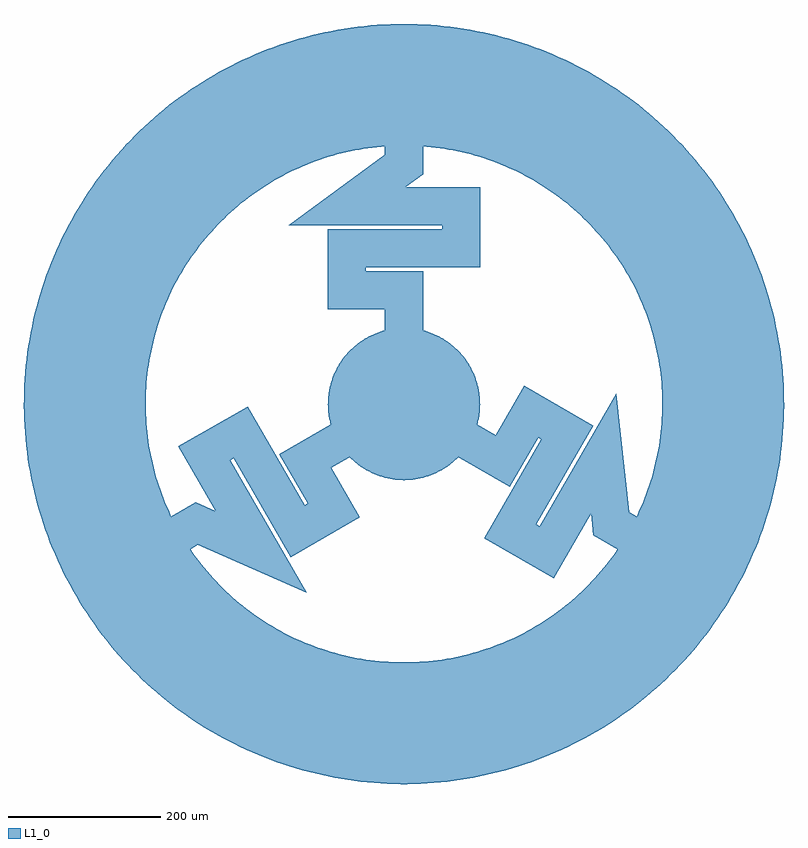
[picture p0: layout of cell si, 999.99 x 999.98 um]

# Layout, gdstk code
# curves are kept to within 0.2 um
import gdstk
lib = gdstk.Library(unit=1e-6, precision=1e-09)
def P(c, l, *ps):  # polygons
    for p in ps: c.add(gdstk.Polygon(p, *l))
L1_0 = (1, 0)

c_si = lib.new_cell('si')
P(c_si, L1_0, [(-0.875,-99.996),(-11.352,-99.354),(-19.992,-97.981),(-30.152,-95.346),(-38.369,-92.346),(-47.838,-87.816),(-56.779,-82.318),(-65.094,-75.913),(-71.48,-69.933),(-77.318,-63.418),(-83.54,-54.964),(-88.024,-47.453),(-92.513,-37.965),(-95.983,-28.059),(-98.068,-19.563),(-99.578,-9.176),(-99.991,1.313),(-99.303,11.786),(-97.521,22.13),(-94.664,32.23),(-91.485,40.38),(-86.748,49.747),(-82.068,57.138),(-75.627,65.426),(-69.62,71.785),(-61.712,78.687),(-54.598,83.78),(-47.067,88.231),(-37.56,92.678),(-27.639,96.105),(-19.133,98.153),(-8.74,99.617),(1.75,99.985),(10.482,99.449),(20.848,97.803),(30.985,95.079),(39.176,92.007),(48.604,87.394),(56.056,82.811),(64.428,76.479),(72.089,69.305),(78.956,61.367),(84.018,54.231),(88.436,46.681),(92.842,37.154),(95.734,28.898),(98.235,18.704),(99.655,8.304),(99.999,-0.438),(99.578,-9.176),(98.068,-19.563),(95.983,-28.059),(92.513,-37.965),(88.024,-47.453),(83.54,-54.964),(77.318,-63.418),(70.245,-71.173),(62.398,-78.144),(55.329,-83.299),(47.838,-87.816),(38.369,-92.346),(28.478,-95.859),(18.274,-98.316),(7.868,-99.69)],
  [(-4.375,-499.981),(-30.609,-499.062),(-56.759,-496.768),(-82.752,-493.105),(-99.958,-489.907),(-125.531,-483.985),(-150.759,-476.73),(-175.57,-468.161),(-199.898,-458.302),(-215.815,-451.025),(-239.188,-439.078),(-261.902,-425.92),(-283.894,-411.588),(-305.103,-396.121),(-325.472,-379.563),(-344.944,-361.959),(-357.4,-349.665),(-375.258,-330.426),(-392.082,-310.277),(-407.826,-289.272),(-417.699,-274.822),(-431.547,-252.522),(-440.12,-237.265),(-451.965,-213.839),(-462.565,-189.825),(-471.89,-165.287),(-479.914,-140.294),(-486.616,-114.914),(-491.976,-89.217),(-494.797,-71.945),(-497.891,-45.878),(-499.612,-19.685),(-499.957,6.563),(-499.421,24.056),(-497.47,50.233),(-495.408,67.612),(-491.176,93.519),(-487.603,110.651),(-481.124,136.089),(-473.318,161.151),(-464.209,185.77),(-457.423,201.902),(-446.196,225.63),(-438.027,241.107),(-424.769,263.763),(-415.278,278.467),(-400.092,299.878),(-383.802,320.462),(-366.604,340),(0,340),(-11.899,339.792),(-23.783,339.167),(-41.55,337.452),(-53.335,335.791),(-65.054,333.719),(-82.478,329.844),(-93.971,326.756),(-105.349,323.267),(-122.169,317.293),(-133.198,312.823),(-144.065,307.97),(-160.029,299.985),(-170.429,294.2),(-180.621,288.056),(-195.49,278.179),(-209.82,267.536),(-219.054,260.03),(-228.02,252.204),(-240.942,239.89),(-249.189,231.311),(-257.132,222.448),(-268.452,208.647),(-275.589,199.124),(-282.389,189.357),(-291.938,174.276),(-297.858,163.953),(-303.414,153.428),(-311.048,137.293),(-315.662,126.323),(-319.889,115.199),(-323.725,103.933),(-327.164,92.54),(-331.57,75.243),(-335.062,57.738),(-336.877,45.976),(-338.28,34.159),(-339.268,22.299),(-339.841,10.412),(-339.919,-7.438),(-339.45,-19.329),(-338.566,-31.197),(-336.462,-48.922),(-334.544,-60.668),(-332.216,-72.338),(-327.961,-89.674),(-322.803,-106.762),(-318.869,-117.994),(-314.544,-129.081),(-309.834,-140.01),(-304.745,-150.767),(-296.412,-166.553),(-287.263,-181.88),(-280.721,-191.821),(-273.836,-201.528),(-266.616,-210.988),(-259.069,-220.19),(-247.156,-233.482),(-234.562,-246.132),(-225.804,-254.19),(-216.77,-261.937),(-202.724,-272.952),(-193.048,-279.88),(-183.135,-286.464),(-172.997,-292.698),(-162.648,-298.573),(-146.754,-306.697),(-130.456,-313.977),(-119.388,-318.35),(-108.174,-322.333),(-91.108,-327.566),(-79.588,-330.554),(-67.971,-333.136),(-50.394,-336.245),(-38.596,-337.802),(-26.75,-338.946),(-8.925,-339.883),(2.975,-339.987),(14.872,-339.675),(32.678,-338.426),(44.502,-337.075),(56.271,-335.311),(67.971,-333.136),(79.588,-330.554),(96.827,-325.921),(108.174,-322.333),(119.388,-318.35),(135.931,-311.645),(146.754,-306.697),(157.398,-301.374),(172.997,-292.698),(183.135,-286.464),(193.048,-279.88),(207.47,-269.362),(221.321,-258.103),(230.218,-250.199),(238.833,-241.989),(251.204,-229.121),(262.883,-215.622),(273.836,-201.528),(284.036,-186.879),(293.452,-171.715),(299.282,-161.34),(307.336,-145.411),(314.544,-129.081),(320.885,-112.395),(326.342,-95.4),(330.899,-78.141),(334.544,-60.668),(337.267,-43.027),(338.566,-31.197),(339.736,-13.386),(339.971,4.463),(339.268,22.299),(337.63,40.074),(335.062,57.738),(331.57,75.243),(327.164,92.54),(323.725,103.933),(317.824,120.78),(311.048,137.293),(303.414,153.428),(297.858,163.953),(288.843,179.359),(279.032,194.271),(268.452,208.647),(260.986,217.914),(249.189,231.311),(236.706,244.07),(228.02,252.204),(219.054,260.03),(209.82,267.536),(200.328,274.716),(185.635,284.851),(175.552,291.173),(165.254,297.138),(154.754,302.739),(144.065,307.97),(133.198,312.823),(122.169,317.293),(105.349,323.267),(88.238,328.351),(76.693,331.237),(65.054,333.719),(53.335,335.791),(41.55,337.452),(29.715,338.699),(17.844,339.531),(5.95,339.948),(-366.604,340),(-354.326,352.779),(-335.323,370.888),(-315.396,387.976),(-294.6,403.994),(-272.992,418.898),(-250.631,432.648),(-227.58,445.205),(-203.901,456.535),(-179.66,466.607),(-154.925,475.393),(-129.762,482.868),(-104.241,489.013),(-78.433,493.81),(-52.409,497.246),(-26.241,499.311),(0,500),(17.498,499.694),(43.699,498.087),(69.779,495.107),(95.667,490.763),(121.291,485.065),(146.581,478.031),(171.467,469.68),(195.88,460.034),(211.86,452.897),(235.337,441.154),(258.165,428.195),(280.281,414.056),(294.6,403.994),(315.396,387.976),(335.323,370.888),(354.326,352.779),(372.352,333.697),(389.352,313.696),(405.279,292.83),(415.278,278.467),(429.321,256.289),(442.179,233.404),(453.819,209.876),(464.209,185.77),(473.318,161.151),(481.124,136.089),(487.603,110.651),(491.176,93.519),(495.408,67.612),(498.273,41.519),(499.421,24.056),(499.995,-2.188),(499.191,-28.425),(497.012,-54.584),(494.797,-71.945),(490.339,-97.813),(486.616,-114.914),(479.914,-140.294),(471.89,-165.287),(462.565,-189.825),(451.965,-213.839),(440.12,-237.265),(427.061,-260.036),(412.826,-282.09),(402.701,-296.365),(386.592,-317.091),(369.418,-336.943),(351.225,-355.866),(332.065,-373.809),(311.989,-390.721),(291.054,-406.556),(269.316,-421.271),(254.408,-430.438),(231.467,-443.196),(207.888,-454.733),(183.737,-465.017),(159.079,-474.019),(142.392,-479.296),(117.042,-486.108),(91.369,-491.581),(65.444,-495.699),(39.339,-498.45),(13.125,-499.828)])
c_si.add(gdstk.FlexPath([(0,0),(0,150),(-75,150),(-75,205),(75,205),(75,260),(-75,260),(-75,260),(0,315),(0,340)], 50, ends="flush", simple_path=True, layer=1, datatype=0))  # L1_0
c_si.add(gdstk.FlexPath([(0,0),(-129.904,-75),(-92.404,-139.952),(-140.035,-167.452),(-215.035,-37.548),(-262.667,-65.048),(-187.667,-194.952),(-187.667,-194.952),(-272.798,-157.5),(-294.449,-170)], 50, ends="flush", simple_path=True, layer=1, datatype=0))  # L1_0
c_si.add(gdstk.FlexPath([(0,0),(129.904,-75),(167.404,-10.048),(215.035,-37.548),(140.035,-167.452),(187.667,-194.952),(262.667,-65.048),(262.667,-65.048),(272.798,-157.5),(294.449,-170)], 50, ends="flush", simple_path=True, layer=1, datatype=0))  # L1_0

lib.write_gds('si.gds')
